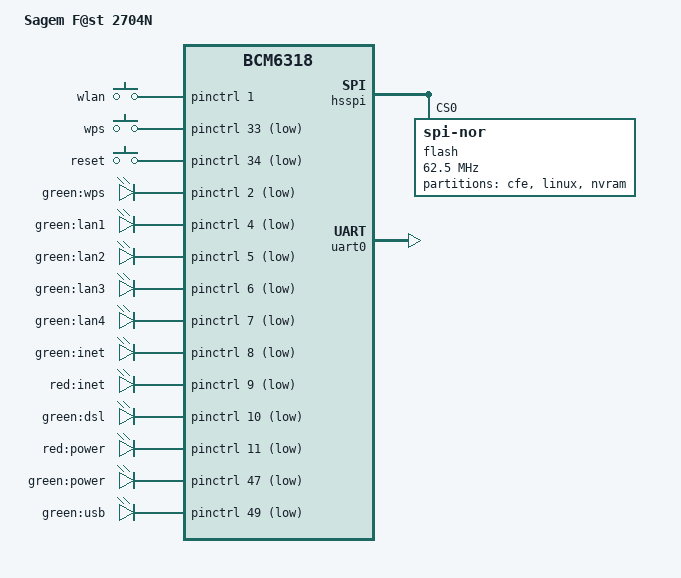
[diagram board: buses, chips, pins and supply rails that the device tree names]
#include "bcm6318.dtsi"

#include <dt-bindings/input/input.h>

/ {
	model = "Sagem F@st 2704N";
	compatible = "sagem,fast-2704n", "brcm,bcm6318";

	aliases {
		led-boot = &led_power_red;
		led-failsafe = &led_power_red;
		led-running = &led_power_red;
		led-upgrade = &led_power_red;
	};

	chosen {
		bootargs = "rootfstype=squashfs,jffs2 noinitrd console=ttyS0,115200";
		stdout-path = "serial0:115200n8";
	};

	keys {
		compatible = "gpio-keys-polled";
		#address-cells = <1>;
		#size-cells = <0>;
		poll-interval = <20>;

		wlan {
			label = "wlan";
			gpios = <&pinctrl 1 0>;
			linux,code = <KEY_WLAN>;
			debounce-interval = <60>;
		};

		wps {
			label = "wps";
			gpios = <&pinctrl 33 1>;
			linux,code = <KEY_WPS_BUTTON>;
			debounce-interval = <60>;
		};

		reset {
			label = "reset";
			gpios = <&pinctrl 34 1>;
			linux,code = <KEY_RESTART>;
			debounce-interval = <60>;
		};
	};

	leds {
		compatible = "gpio-leds";

		wps_green {
			label = "green:wps";
			gpios = <&pinctrl 2 1>;
		};
		lan1_green {
			label = "green:lan1";
			gpios = <&pinctrl 4 1>;
		};
		lan2_green {
			label = "green:lan2";
			gpios = <&pinctrl 5 1>;
		};
		lan3_green {
			label = "green:lan3";
			gpios = <&pinctrl 6 1>;
		};
		lan4_green {
			label = "green:lan4";
			gpios = <&pinctrl 7 1>;
		};
		inet_green {
			label = "green:inet";
			gpios = <&pinctrl 8 1>;
		};
		inet_red {
			label = "red:inet";
			gpios = <&pinctrl 9 1>;
		};
		dsl_green {
			label = "green:dsl";
			gpios = <&pinctrl 10 1>;
		};
		led_power_red: power_red {
			label = "red:power";
			gpios = <&pinctrl 11 1>;
		};
		power_green {
			label = "green:power";
			gpios = <&pinctrl 47 1>;
			default-state = "on";
		};
		usb_green {
			label = "green:usb";
			gpios = <&pinctrl 49 1>;
		};
	};
};

&hsspi {
	status = "okay";

	flash@0 {
		compatible = "jedec,spi-nor";
		spi-max-frequency = <62500000>;
		spi-tx-bus-width = <2>;
		spi-rx-bus-width = <2>;
		reg = <0>;

		#address-cells = <1>;
		#size-cells = <1>;

		partitions {
			compatible = "fixed-partitions";
			#address-cells = <1>;
			#size-cells = <1>;

			cfe@0 {
				reg = <0x000000 0x010000>;
				label = "cfe";
				read-only;
			};

			linux@10000 {
				reg = <0x010000 0x7e0000>;
				label = "linux";
				compatible = "brcm,bcm963xx-imagetag";
			};

			nvram@7f0000 {
				reg = <0x7f0000 0x010000>;
				label = "nvram";
			};
		};
	};
};

&uart0 {
	status = "okay";
};
